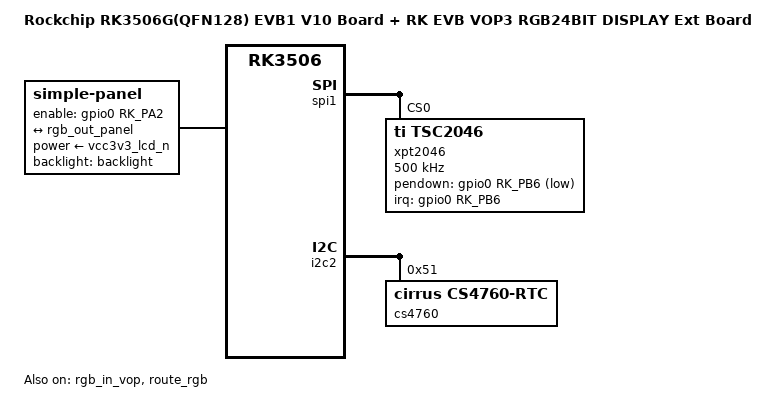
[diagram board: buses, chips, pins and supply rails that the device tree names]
// SPDX-License-Identifier: (GPL-2.0+ OR MIT)
/*
 * Copyright (c) 2024 Rockchip Electronics Co., Ltd.
 */

#include <dt-bindings/display/drm_mipi_dsi.h>
#include <dt-bindings/input/rk-input.h>
#include <dt-bindings/suspend/rockchip-rk3506.h>
#include <dt-bindings/display/media-bus-format.h>
#include "rk3502-evb1-v10.dtsi"

/ {
	model = "Rockchip RK3506G(QFN128) EVB1 V10 Board + RK EVB VOP3 RGB24BIT DISPLAY Ext Board";
	compatible = "rockchip,rk3506g-evb1-v10-rgb-Q7050ITH2641AA1T", "rockchip,rk3506";

	chosen {
		bootargs = "earlycon=uart8250,mmio32,0xff0a0000 console=ttyFIQ0 ubi.mtd=5 ubi.block=0,rootfs root=/dev/ubiblock0_0 rootfstype=squashfs rootwait snd_aloop.index=7 snd_aloop.use_raw_jiffies=1 storagemedia=mtd androidboot.storagemedia=mtd androidboot.mode=normal";
	};
	
	panel: panel {
		compatible = "simple-panel";
		bus-format = <MEDIA_BUS_FMT_RGB888_1X24>;
		backlight = <&backlight>;
		enable-gpios = <&gpio0 RK_PA2 GPIO_ACTIVE_HIGH>;
		enable-delay-ms = <20>;
		power-supply = <&vcc3v3_lcd_n>;
		connector-type = <17>;
		bpc = <8>;
		status = "okay";

		display-timings {
			native-mode = <&q7050ith2641aa1t_timing>;
			q7050ith2641aa1t_timing: timing0 {
                clock-frequency = <9000000>;
                hactive = <480>;
                vactive = <272>;
                hback-porch = <43>;
                hfront-porch = <8>;
                vback-porch = <12>;
                vfront-porch = <8>;
                hsync-len = <3>;
                vsync-len = <3>;
                hsync-active = <0>;
                vsync-active = <0>;
                de-active = <1>;
                pixelclk-active = <0>;
			};
		};

		port {
			panel_in_rgb: endpoint {
				remote-endpoint = <&rgb_out_panel>;
			};
		};
	};
};

&cma {
	size = <0x1600000>;
};

&rgb_in_vop {
	status = "okay";
};

&route_rgb {
	status = "okay";
};

&u2phy_otg0 {
	rockchip,vbus-always-on;
};

&spi1 {
    status = "okay";
    num-cs = <1>;
    pinctrl-names = "default";
    pinctrl-0 = <&spi1_clk_pins &spi1_csn0_pins>;

    /* XPT2046 触摸屏（兼容ADS7846） */
    xpt2046: touchscreen@0 {
        compatible = "ti,tsc2046";
        reg = <0>;                 // SPI CS0
        spi-max-frequency = <500000>;
        
		interrupts = <RK_PB6 IRQ_TYPE_EDGE_FALLING>;
		interrupt-parent = <&gpio0>;
        pendown-gpio = <&gpio0 RK_PB6 GPIO_ACTIVE_LOW>;
        
        ti,x-min = <0>;
        ti,x-max = <8000>;
        ti,y-min = <0>;
        ti,y-max = <4800>;
        ti,pressure-min = <0>;
        ti,pressure-max = <255>;
        ti,x-plate-ohms = <400>;  // 典型值 40-400Ω

        /* 可选参数 */
        //ti,swap-xy;               // 交换XY轴（根据屏幕方向调整）
        //ti,keep-vref-on;          // 保持VREF供电
    };
};

&i2c2 {
    status = "okay";
    pinctrl-names = "default";
    pinctrl-0 = <&rm_io4_i2c2_scl &rm_io5_i2c2_sda >;
    cs4760: cs4760@51 {
        compatible = "cirrus,cs4760-rtc"; // 必须与驱动中的匹配
        reg = <0x51>;
    };
};
